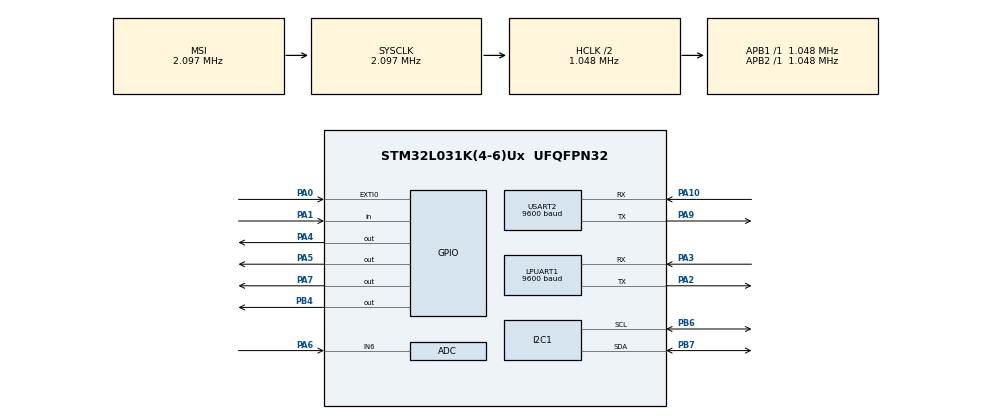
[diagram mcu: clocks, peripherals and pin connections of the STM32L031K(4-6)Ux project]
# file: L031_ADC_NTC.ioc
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ADC.ClockPrescaler=ADC_CLOCK_SYNC_PCLK_DIV4
ADC.ContinuousConvMode=ENABLE
I2C1.Timing=0x00000202
LPUART1.BaudRate=9600
LPUART1.WordLength=UART_WORDLENGTH_8B
Mcu.Family=STM32L0
Mcu.Name=STM32L031K(4-6)Ux
Mcu.Package=UFQFPN32
NVIC.EXTI0_1_IRQn=true\:0\:0\:false\:false\:true\:true\:true\:true
NVIC.LPUART1_IRQn=true\:0\:0\:false\:false\:true\:true\:true\:true
NVIC.RTC_IRQn=true\:0\:0\:false\:false\:true\:true\:true\:true
NVIC.USART2_IRQn=true\:0\:0\:false\:false\:true\:true\:true\:true
PA0-CK_IN.Signal=GPXTI0
PA1.Signal=GPIO_Input
PA10.Mode=Asynchronous
PA10.Signal=USART2_RX
PA13.Mode=Serial_Wire
PA13.Signal=SYS_SWDIO
PA14.Mode=Serial_Wire
PA14.Signal=SYS_SWCLK
PA2.Mode=Asynchronous
PA2.Signal=LPUART1_TX
PA3.Mode=Asynchronous
PA3.Signal=LPUART1_RX
PA4.Signal=GPIO_Output
PA5.Signal=GPIO_Output
PA6.Mode=IN6
PA6.Signal=ADC_IN6
PA7.Signal=GPIO_Output
PA9.Mode=Asynchronous
PA9.Signal=USART2_TX
PB4.Signal=GPIO_Output
PB6.Mode=I2C
PB6.Signal=I2C1_SCL
PB7.Mode=I2C
PB7.Signal=I2C1_SDA
PC14-OSC32_IN.Mode=LSE-External-Oscillator
PC14-OSC32_IN.Signal=RCC_OSC32_IN
PC15-OSC32_OUT.Mode=LSE-External-Oscillator
PC15-OSC32_OUT.Signal=RCC_OSC32_OUT
ProjectManager.HeapSize=0x100
ProjectManager.StackSize=0x200
ProjectManager.TargetToolchain=STM32CubeIDE
RCC.ADCFreq_Value=4000000
RCC.AHBCLKDivider=RCC_SYSCLK_DIV2
RCC.AHBFreq_Value=1048500
RCC.APB1Freq_Value=1048500
RCC.APB1TimFreq_Value=1048500
RCC.APB2Freq_Value=1048500
RCC.APB2TimFreq_Value=1048500
RCC.HCLKFreq_Value=1048500
RCC.HSE_VALUE=8000000
RCC.HSI16_VALUE=16000000
RCC.HSIRCDiv=4
RCC.HSI_VALUE=4000000
RCC.I2c1ClockSelection=RCC_I2C1CLKSOURCE_SYSCLK
RCC.MSI_VALUE=2097000
RCC.PLLDIV=RCC_PLLDIV_4
RCC.SYSCLKFreq_VALUE=2097000
RCC.VCOOutputFreq_Value=12000000
USART2.BaudRate=9600
USART2.VirtualMode-Asynchronous=VM_ASYNC
VP_ADC_Vref_Input.Mode=IN-Vrefint
VP_RTC_VS_RTC_Activate.Mode=RTC_Enabled
VP_RTC_VS_RTC_WakeUp_intern.Mode=WakeUp
board=custom

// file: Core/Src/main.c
/* USER CODE BEGIN Header */
/**
  ******************************************************************************
  * @file           : main.c
  * @brief          : Main program body
  ******************************************************************************
  * @attention
  *
  * Copyright (c) 2022 STMicroelectronics.
  * All rights reserved.
  *
  * This software is licensed under terms that can be found in the LICENSE file
  * in the root directory of this software component.
  * If no LICENSE file comes with this software, it is provided AS-IS.
  *
  ******************************************************************************
  */
/* USER CODE END Header */

#include "main.h"
#include "adc.h"
#include "i2c.h"
#include "usart.h"
#include "rtc.h"
#include "gpio.h"

/* USER CODE BEGIN Includes */
#include "stdio.h"
#include "stdarg.h"
#include "string.h"
#include <math.h>
#include "sensor.h"
#include "SelectADC.h"

/* USER CODE END Includes */

/* USER CODE BEGIN PV */

//uint32_t BATTER_VALUE;

//Encryption
#define lowByte(v)   ((unsigned char) (v))
#define highByte(v)  ((unsigned char) (((unsigned int) (v)) >> 8))
char payload[7];

//USART
uint8_t data1;
char message1[256] = {0};
int msg_count1=0;
uint8_t data;
char message[256] = {0};
int msg_count=0;

//LP Sleep
//uint32_t send_factory = 0;
const uint16_t Seconds =3;

// measure
float temperature;

/* USER CODE END PV */

void SystemClock_Config(void);
/* USER CODE BEGIN PFP */

uint16_t LMIC_f2sflt16(float f)
{
	if (f <= -1.0)
		return 0xFFFF;
	else if (f >= 1.0)
		return 0x7FFF;
	else
	{
		int iExp;
		float normalValue;
		uint16_t sign;

		normalValue = frexpf(f, &iExp);

		sign = 0;
		if (normalValue < 0)
		{
			// set the "sign bit" of the result
			// and work with the absolute value of normalValue.
			sign = 0x8000;
			normalValue = -normalValue;

		}
		else

			// abs(f) is supposed to be in [0..1), so useful exp
			// is [0..-15]
			iExp += 15;
		if (iExp < 0)
			iExp = 0;

		// bit 15 is the sign
		// bits 14..11 are the exponent
		// bits 10..0 are the fraction
		// we conmpute the fraction and then decide if we need to round.
		uint16_t outputFraction = ldexpf(normalValue, 11) + 0.5;
		;

		if (outputFraction >= (1 << 11u))
		{
			// reduce output fraction
			outputFraction = 1 << 10;
			// increase exponent
			++iExp;

		}

		// check for overflow and return max instead.
		if (iExp > 15)
		{

			return 0x7FFF | sign;
		}

		uint16_t res = (uint16_t)(sign | (iExp << 11u) | outputFraction);

		return res;
	}
}

//USART----------------------------
void  UART_printf ( const  char * fmt1, ...)
{
	char buff1 [ 256 ];
	va_list args1;
	va_start(args1, fmt1);
	vsnprintf(buff1, sizeof (buff1), fmt1, args1);
	HAL_UART_Transmit (&hlpuart1, ( uint8_t *) buff1, strlen (buff1), HAL_MAX_DELAY);
	va_end(args1);
}
void  UART_printf2 ( const  char * fmt, ...)
{
	char buff [ 256 ];
	va_list args;
	va_start(args, fmt);
	vsnprintf(buff, sizeof (buff), fmt, args);
	HAL_UART_Transmit (&huart2, ( uint8_t *) buff, strlen (buff), HAL_MAX_DELAY);
	va_end(args);
}

void clear_message()
{
	memset(message, 0, 256);
	msg_count=0;
}
void clear_message1()
{
	memset(message1, 0, 256);
	msg_count1=0;
}
void HAL_UART_RxCpltCallback(UART_HandleTypeDef *huart)
{
	if(huart == &hlpuart1)
	{
		message[msg_count++] = data;
		if(data == '\0')
		{

			UART_printf2 (message);
			clear_message();
		}
		HAL_UART_Receive_IT(&hlpuart1, &data, 1);
	}
	else if(huart == &huart2)
	{
		message1[msg_count1++] = data1;
		if(data1 == '\0')
		{
			UART_printf (message1);

			clear_message1();
		}
		HAL_UART_Receive_IT(&huart2, &data1, 1);
	}
}

//void I2C_DeInit();
//void MX_LPUART1_UART_DeeInit();
//void MX_USART2_DeInit();

//LP
//void SystemPower_Config(void);
//void set_time (void);
//void SystemClockConfig_STOP(void);
//void HAL_RTCEx_WakeUpTimerEventCallback(RTC_HandleTypeDef *hrtc)
//{
//	/* Clear Wake Up Flag */
//	send_factory++;
//}
//
//void HAL_SYSTICK_Callback(void)
//{
//	HAL_IncTick();
//}

//MAIN Acquisition
void EXECUTION(){
//	SystemClock_Config();
//	MX_GPIO_Init();
//	MX_LPUART1_UART_Init();
//	MX_I2C1_Init();
//	MX_USART2_UART_Init();
//	MX_ADC_Init();

	HAL_UART_Receive_IT(&hlpuart1, &data, 1);
	HAL_UART_Receive_IT(&huart2, &data1, 1);

//	//UART_printf2("wake number : %d\r\n",(send_factory));// /4
	HAL_GPIO_WritePin(GPIOA, GPIO_PIN_5, GPIO_PIN_RESET);
	HAL_GPIO_WritePin(GPIOA, GPIO_PIN_4, GPIO_PIN_RESET);

	HAL_Delay(50);
//	bat_level();
//	//UART_printf2("\n\n ADC: %d   ||   Pourcentage: %d   ||   Volts: %.1u.%.3u V\r\n\n",BATTER_VALUE, lvlprcnt,(uint8_t)(voltage),(uint32_t)(voltage*1000)%1000);

	//response time of BME280 is 100ms
	HAL_Delay(100);
//	UART_printf ("TTM:MAC-?");

	//Measuring

//	read_bme_forced();

//	BATTER_VALUE = GET_ADC_AVG(ADC_CHANNEL_6, 60);

	temperature = sensor_temperature();
   	UART_printf2("\n Temperature NTC:  %d.%2u *C \r\n",(int) temperature,(uint32_t)(temperature*100)%100);

	// encrypting
	uint16_t payloadTemp = LMIC_f2sflt16((temperature)/100);
	payload[0] = lowByte(payloadTemp);
	payload[1] = highByte(payloadTemp);

//	uint16_t payloadHum = LMIC_f2sflt16((humidity)/100);
	payload[2] = 0x00; //lowByte(payloadHum);
	payload[3] = 0x00; // highByte(payloadHum);

//	uint16_t payloadPress = LMIC_f2sflt16((pressure)/1000000);
	payload[4] = 0x00 ; //lowByte(payloadPress);
	payload[5] = 0x00;  //highByte(payloadPress);

	payload[6] = 0x00;//(uint16_t)lvlprcnt ;
	//UART_printf2("BME280>> T: %d.%u || H:%u.%u || P: %u \r\n",(int32_t)temperature,(int32_t)(temperature*100)%100,(int32_t)humidity,(int32_t)(humidity*1000)%1000, (uint32_t) pressure );
	UART_printf2("TTM:ADD-%.2x%.2x%.2x%.2x%.2x%.2x%.2x\r\n",payload[0],payload[1],payload[2],payload[3],payload[4],payload[5],(uint16_t)payload[6]);

	UART_printf ("TTM:ADD-%.2x%.2x%.2x%.2x%.2x%.2x%.2x",payload[0],payload[1],payload[2],payload[3],payload[4],payload[5],payload[6]);

    HAL_GPIO_WritePin(GPIOB, GPIO_PIN_4, GPIO_PIN_SET);   //LEDs
	HAL_Delay(100);
    HAL_GPIO_WritePin(GPIOB, GPIO_PIN_4, GPIO_PIN_RESET);

	//	HAL_Delay(500);
	//	HAL_Delay(100);

//	I2C_DeInit();
//	MX_USART2_DeInit();
//	MX_LPUART1_UART_DeeInit();
//	//ADC_DeInit();
//	HAL_GPIO_WritePin(GPIOA, GPIO_PIN_5, GPIO_PIN_SET);
//	HAL_GPIO_WritePin(GPIOA, GPIO_PIN_4, GPIO_PIN_SET);

}

/* USER CODE END PFP */

int main(void)
{

  /* MCU Configuration--------------------------------------------------------*/

  /* Reset of all peripherals, Initializes the Flash interface and the Systick. */
  HAL_Init();

  /* Configure the system clock */
  SystemClock_Config();

  /* Initialize all configured peripherals */
  MX_GPIO_Init();
  MX_USART2_UART_Init();
  MX_ADC_Init();
  MX_LPUART1_UART_Init();
  MX_RTC_Init();
  MX_I2C1_Init();
  /* USER CODE BEGIN 2 */

	// Init peripheral ----------------------------------------

  	HAL_UART_Receive_IT(&hlpuart1, &data, 1);
  	HAL_UART_Receive_IT(&huart2, &data1, 1);

  	HAL_GPIO_WritePin(GPIOA, GPIO_PIN_5, GPIO_PIN_RESET);
  	HAL_GPIO_WritePin(GPIOA, GPIO_PIN_4, GPIO_PIN_RESET);

  	//LED
  	HAL_GPIO_WritePin(GPIOB, GPIO_PIN_4, GPIO_PIN_SET);
  	HAL_Delay(500);
  	HAL_GPIO_WritePin(GPIOB, GPIO_PIN_4, GPIO_PIN_RESET);
  	HAL_Delay(500);
  	HAL_GPIO_WritePin(GPIOB, GPIO_PIN_4, GPIO_PIN_SET);
  	HAL_Delay(500);
  	HAL_GPIO_WritePin(GPIOB, GPIO_PIN_4, GPIO_PIN_RESET);
  	HAL_Delay(500);

  	UART_printf ("TTM:REN-NXT_ASSET_IOT");
  	HAL_Delay(500);
  	UART_printf ("TTM:MOD-0");
  	HAL_Delay(500);
  	UART_printf ("TTM:ADP-1");
  	HAL_Delay(500);
  	UART_printf ("TTM:MAC-?");
  	HAL_Delay(500);
  	UART_printf ("TTM:RST-SYS");
  	HAL_Delay(1000);

//  	init_bme();
//  	read_bme_forced();
//  	bat_level();

  	HAL_Delay(100);

//
//  	/*
//  	 * Configure LOW PO
//  	 */
//  	I2C_DeInit();
//  	MX_USART2_DeInit();
//  	MX_LPUART1_UART_DeeInit();
//  	SystemPower_Config();
//  	hrtc.Instance = RTC;
//  	hrtc.Init.HourFormat = RTC_HOURFORMAT_24;
//  	hrtc.Init.AsynchPrediv = 127;
//  	hrtc.Init.SynchPrediv = 255;
//  	hrtc.Init.OutPut = RTC_OUTPUT_DISABLE;
//  	hrtc.Init.OutPutRemap = RTC_OUTPUT_REMAP_NONE;
//  	hrtc.Init.OutPutPolarity = RTC_OUTPUT_POLARITY_HIGH;
//  	hrtc.Init.OutPutType = RTC_OUTPUT_TYPE_OPENDRAIN;
//  	if (HAL_RTC_Init(&hrtc) != HAL_OK)
//  	{
//  		Error_Handler();
//  	}
//
//  	if(HAL_RTCEx_BKUPRead(&hrtc, RTC_BKP_DR1) != 0x32F){
//  		set_time();
//  	}

  /* USER CODE END 2 */

  /* Infinite loop */
  /* USER CODE BEGIN WHILE */
  while (1)
  {

		// 4 == periodicity of 32 sec (4 = 4*32 == 2 min)

//		if(send_factory % 1 == 0){

		EXECUTION();

//		temperature = sensor_temperature();
//	   	UART_printf2("\n Temperature NTC:  %d.%2u *C \r\n",(int) temperature,(uint32_t)(temperature*100)%100);

		HAL_GPIO_WritePin(GPIOB, GPIO_PIN_4, GPIO_PIN_SET);
		HAL_Delay(500);
		HAL_GPIO_WritePin(GPIOB, GPIO_PIN_4, GPIO_PIN_RESET);
		HAL_Delay(500);

//	}

//		HAL_RTCEx_DeactivateWakeUpTimer(&hrtc);
//		__HAL_PWR_CLEAR_FLAG(PWR_FLAG_WU);
//	//	HAL_RTCEx_SetWakeUpTimer_IT(&hrtc, 0x000ff, RTC_WAKEUPCLOCK_RTCCLK_DIV16); //0xfffff
//
//		HAL_RTCEx_SetWakeUpTimer_IT(&hrtc, 1, RTC_WAKEUPCLOCK_CK_SPRE_16BITS); //Seconds*1.224    // secondes*1.224
//
//		/* Enter Stop Mode */
//		HAL_PWR_EnterSTOPMode(PWR_LOWPOWERREGULATOR_ON, PWR_STOPENTRY_WFI);

    /* USER CODE END WHILE */

  }
}

void SystemClock_Config(void)
{
  RCC_OscInitTypeDef RCC_OscInitStruct = {0};
  RCC_ClkInitTypeDef RCC_ClkInitStruct = {0};
  RCC_PeriphCLKInitTypeDef PeriphClkInit = {0};

  /** Configure the main internal regulator output voltage
  */
  __HAL_PWR_VOLTAGESCALING_CONFIG(PWR_REGULATOR_VOLTAGE_SCALE1);

  /** Initializes the RCC Oscillators according to the specified parameters
  * in the RCC_OscInitTypeDef structure.
  */
  RCC_OscInitStruct.OscillatorType = RCC_OSCILLATORTYPE_LSI|RCC_OSCILLATORTYPE_MSI;
  RCC_OscInitStruct.LSIState = RCC_LSI_ON;
  RCC_OscInitStruct.MSIState = RCC_MSI_ON;
  RCC_OscInitStruct.MSICalibrationValue = 0;
  RCC_OscInitStruct.MSIClockRange = RCC_MSIRANGE_5;
  RCC_OscInitStruct.PLL.PLLState = RCC_PLL_NONE;
  if (HAL_RCC_OscConfig(&RCC_OscInitStruct) != HAL_OK)
  {
    Error_Handler();
  }

  /** Initializes the CPU, AHB and APB buses clocks
  */
  RCC_ClkInitStruct.ClockType = RCC_CLOCKTYPE_HCLK|RCC_CLOCKTYPE_SYSCLK
                              |RCC_CLOCKTYPE_PCLK1|RCC_CLOCKTYPE_PCLK2;
  RCC_ClkInitStruct.SYSCLKSource = RCC_SYSCLKSOURCE_MSI;
  RCC_ClkInitStruct.AHBCLKDivider = RCC_SYSCLK_DIV2;
  RCC_ClkInitStruct.APB1CLKDivider = RCC_HCLK_DIV1;
  RCC_ClkInitStruct.APB2CLKDivider = RCC_HCLK_DIV1;

  if (HAL_RCC_ClockConfig(&RCC_ClkInitStruct, FLASH_LATENCY_0) != HAL_OK)
  {
    Error_Handler();
  }
  PeriphClkInit.PeriphClockSelection = RCC_PERIPHCLK_USART2|RCC_PERIPHCLK_LPUART1
                              |RCC_PERIPHCLK_I2C1|RCC_PERIPHCLK_RTC;
  PeriphClkInit.Usart2ClockSelection = RCC_USART2CLKSOURCE_PCLK1;
  PeriphClkInit.Lpuart1ClockSelection = RCC_LPUART1CLKSOURCE_PCLK1;
  PeriphClkInit.I2c1ClockSelection = RCC_I2C1CLKSOURCE_SYSCLK;
  PeriphClkInit.RTCClockSelection = RCC_RTCCLKSOURCE_LSI;
  if (HAL_RCCEx_PeriphCLKConfig(&PeriphClkInit) != HAL_OK)
  {
    Error_Handler();
  }
}

/* USER CODE BEGIN 4 */

void SystemPower_Config(void)
{
	GPIO_InitTypeDef GPIO_InitStructure;

	/* Enable Ultra low power mode */
	HAL_PWREx_EnableUltraLowPower();

	/* Enable the fast wake up from Ultra low power mode */
	HAL_PWREx_EnableFastWakeUp();

	/* Select HSI as system clock source after Wake Up from Stop mode */
	__HAL_RCC_WAKEUPSTOP_CLK_CONFIG(RCC_STOP_WAKEUPCLOCK_HSI);

	/* Enable GPIOs clock */
	__HAL_RCC_GPIOA_CLK_ENABLE();
	__HAL_RCC_GPIOB_CLK_ENABLE();
	__HAL_RCC_GPIOC_CLK_ENABLE();

	/* Configure all GPIO port pins in Analog Input mode (floating input trigger OFF) */
	GPIO_InitStructure.Pin = GPIO_PIN_All;
	GPIO_InitStructure.Mode = GPIO_MODE_ANALOG;
	GPIO_InitStructure.Pull = GPIO_NOPULL;
	HAL_GPIO_Init(GPIOA, &GPIO_InitStructure);
	HAL_GPIO_Init(GPIOB, &GPIO_InitStructure);
	HAL_GPIO_Init(GPIOC, &GPIO_InitStructure);

	/* Disable GPIOs clock */
	__HAL_RCC_GPIOA_CLK_DISABLE();
	__HAL_RCC_GPIOB_CLK_DISABLE();
	__HAL_RCC_GPIOC_CLK_DISABLE();

	/* Configure RTC */

}

void set_time (void)
{
	RTC_TimeTypeDef sTime;
	RTC_DateTypeDef sDate;
	sTime.Hours = 0x11; // set hours
	sTime.Minutes = 0x25; // set minutes
	sTime.Seconds = 0x30; // set seconds
	sTime.DayLightSaving = RTC_DAYLIGHTSAVING_NONE;
	sTime.StoreOperation = RTC_STOREOPERATION_RESET;
	if (HAL_RTC_SetTime(&hrtc, &sTime, RTC_FORMAT_BCD) != HAL_OK)
	{
		Error_Handler();
	}
	sDate.WeekDay = RTC_WEEKDAY_WEDNESDAY   ; //   day
	sDate.Month = RTC_MONTH_DECEMBER; //  month
	sDate.Date = 0x09; // date
	sDate.Year = 0x21; // year
	if (HAL_RTC_SetDate(&hrtc, &sDate, RTC_FORMAT_BCD) != HAL_OK)
	{
		Error_Handler();
	}
	HAL_RTCEx_BKUPWrite(&hrtc, RTC_BKP_DR1, 0x32F2); // backup register
}

void I2C_DeInit(){
	HAL_I2C_DeInit(&hi2c1);
	HAL_I2C_MspDeInit(&hi2c1);
}

void MX_LPUART1_UART_DeeInit(){
	HAL_UART_DeInit(&hlpuart1);
	 HAL_UART_MspDeInit(&hlpuart1);
}

void MX_USART2_DeInit(){
	HAL_UART_DeInit(&huart2);
	HAL_UART_MspDeInit(&huart2)	;
}

/* USER CODE END 4 */

void Error_Handler(void)
{
  __disable_irq();
  while (1)
  {
  }
}
